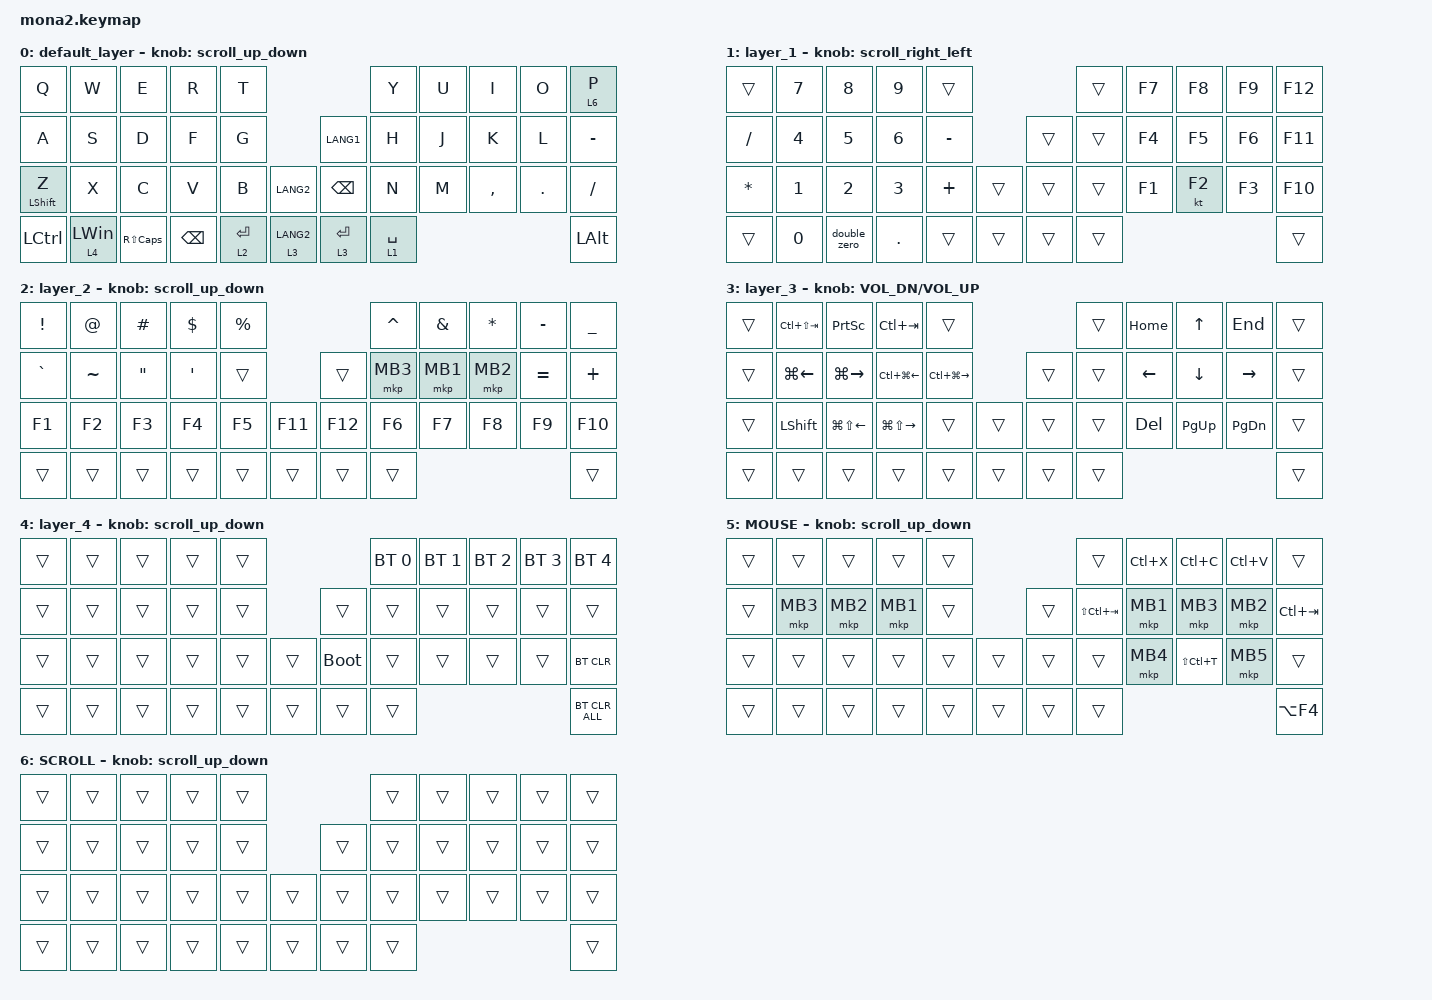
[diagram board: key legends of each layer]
#include <input/processors.dtsi>
#include <dt-bindings/zmk/input_transform.h>
#include <zephyr/dt-bindings/input/input-event-codes.h>
#include <behaviors.dtsi>
#include <dt-bindings/zmk/bt.h>
#include <dt-bindings/zmk/keys.h>
#include <dt-bindings/zmk/pointing.h>

#define ZMK_POINTING_DEFAULT_SCRL_VAL 100
#define MOUSE 5
#define SCROLL 6

&mt {
    flavor = "balanced";
    quick-tap-ms = <0>;
};

&lt {
    quick-tap-ms = <300>;
    flavor = "balanced";
};

/ {
    combos {
        compatible = "zmk,combos";

        layer4_ESC {
            bindings = <&lt 4 ESC>;
            key-positions = <39 38>;
        };

        tab {
            bindings = <&kp TAB>;
            key-positions = <11 12>;
        };
    };

    macros {
        double_zero: to_layer_0 {
            compatible = "zmk,behavior-macro";
            #binding-cells = <0>;
            bindings = <&kp NUMBER_0 &kp NUMBER_0>;
            label = "TO_LAYER_0";
        };
    };

    behaviors {
        lt_to_layer_0: lt_to_layer_0 {
            compatible = "zmk,behavior-hold-tap";
            label = "LAYER_TAP_TO_0";
            bindings = <&mo>, <&double_zero>;

            #binding-cells = <2>;
            tapping-term-ms = <200>;
        };

        scroll_up_down: mouse_wheel_up_down {
            compatible = "zmk,behavior-sensor-rotate";
            #sensor-binding-cells = <0>;
            bindings = <&msc SCRL_DOWN>, <&msc SCRL_UP>;

            tap-ms = <20>;
        };

        scroll_right_left: mouse_wheel_right_left {
            compatible = "zmk,behavior-sensor-rotate";
            #sensor-binding-cells = <0>;
            bindings = <&msc SCRL_LEFT>, <&msc SCRL_RIGHT>;

            tap-ms = <20>;
        };
    };

    keymap {
        compatible = "zmk,keymap";

        default_layer {
            bindings = <
&kp Q             &kp W           &kp E             &kp R          &kp T                                                 &kp Y        &kp U  &kp I      &kp O    &lt 6 P
&kp A             &kp S           &kp D             &kp F          &kp G                                  &kp LANG1      &kp H        &kp J  &kp K      &kp L    &kp MINUS
&mt LEFT_SHIFT Z  &kp X           &kp C             &kp V          &kp B        &kp LANG2                 &kp BACKSPACE  &kp N        &kp M  &kp COMMA  &kp DOT  &kp SLASH
&kp LCTRL         &lt 4 LEFT_WIN  &kp RS(CAPSLOCK)  &kp BACKSPACE  &lt 2 ENTER  &lt_to_layer_0 3 LANG2    &lt 3 ENTER    &lt 1 SPACE                             &kp LEFT_ALT
            >;

            sensor-bindings = <&scroll_up_down>;
        };

        layer_1 {
            bindings = <
&trans        &kp NUMBER_7  &kp NUMBER_8  &kp NUMBER_9  &trans                       &trans  &kp F7  &kp F8  &kp F9  &kp F12
&kp SLASH     &kp NUMBER_4  &kp NUMBER_5  &kp NUMBER_6  &kp MINUS            &trans  &trans  &kp F4  &kp F5  &kp F6  &kp F11
&kp ASTERISK  &kp NUMBER_1  &kp NUMBER_2  &kp NUMBER_3  &kp PLUS   &trans    &trans  &trans  &kp F1  &kt F2  &kp F3  &kp F10
&trans        &kp NUMBER_0  &double_zero  &kp DOT       &trans     &trans    &trans  &trans                          &trans
            >;

            sensor-bindings = <&scroll_right_left>;
        };

        layer_2 {
            bindings = <
&kp EXCLAMATION  &kp AT_SIGN  &kp POUND          &kp DOLLAR  &kp PERCENT                      &kp CARET  &kp AMPERSAND  &kp ASTERISK  &kp MINUS  &kp UNDERSCORE
&kp GRAVE        &kp TILDE    &kp DOUBLE_QUOTES  &kp SQT     &trans                  &trans   &mkp MB3   &mkp MB1       &mkp MB2      &kp EQUAL  &kp PLUS
&kp F1           &kp F2       &kp F3             &kp F4      &kp F5       &kp F11    &kp F12  &kp F6     &kp F7         &kp F8        &kp F9     &kp F10
&trans           &trans       &trans             &trans      &trans       &trans     &trans   &trans                                             &trans
            >;

            sensor-bindings = <&scroll_up_down>;
        };

        layer_3 {
            bindings = <
&trans  &kp LC(LS(TAB))     &kp PRINTSCREEN         &kp LC(TAB)              &trans                                     &trans  &kp HOME        &kp UP_ARROW    &kp END          &trans
&trans  &kp LG(LEFT_ARROW)  &kp LG(RIGHT_ARROW)     &kp LC(LG(LEFT_ARROW))   &kp LC(LG(RIGHT_ARROW))            &trans  &trans  &kp LEFT_ARROW  &kp DOWN_ARROW  &kp RIGHT_ARROW  &trans
&trans  &kp LEFT_SHIFT      &kp LG(LS(LEFT_ARROW))  &kp LG(LS(RIGHT_ARROW))  &trans                   &trans    &trans  &trans  &kp DELETE      &kp PAGE_UP     &kp PAGE_DOWN    &trans
&trans  &trans              &trans                  &trans                   &trans                   &trans    &trans  &trans                                                   &trans
            >;

            sensor-bindings = <&inc_dec_kp C_VOL_DN C_VOL_UP>;
        };

        layer_4 {
            bindings = <
&trans  &trans  &trans  &trans  &trans                         &bt BT_SEL 0  &bt BT_SEL 1  &bt BT_SEL 2  &bt BT_SEL 3  &bt BT_SEL 4
&trans  &trans  &trans  &trans  &trans            &trans       &trans        &trans        &trans        &trans        &trans
&trans  &trans  &trans  &trans  &trans  &trans    &bootloader  &trans        &trans        &trans        &trans        &bt BT_CLR
&trans  &trans  &trans  &trans  &trans  &trans    &trans       &trans                                                  &bt BT_CLR_ALL
            >;

            sensor-bindings = <&scroll_up_down>;
        };

        MOUSE {
            bindings = <
&trans  &trans    &trans    &trans    &trans                    &trans           &kp LC(X)  &kp LC(C)      &kp LC(V)  &trans
&trans  &mkp MB3  &mkp MB2  &mkp MB1  &trans            &trans  &kp LS(LC(TAB))  &mkp MB1   &mkp MB3       &mkp MB2   &kp LC(TAB)
&trans  &trans    &trans    &trans    &trans  &trans    &trans  &trans           &mkp MB4   &kp LS(LC(T))  &mkp MB5   &trans
&trans  &trans    &trans    &trans    &trans  &trans    &trans  &trans                                                &kp LA(F4)
            >;

            sensor-bindings = <&scroll_up_down>;
        };

        SCROLL {
            bindings = <
&trans  &trans  &trans  &trans  &trans                    &trans  &trans  &trans  &trans  &trans
&trans  &trans  &trans  &trans  &trans            &trans  &trans  &trans  &trans  &trans  &trans
&trans  &trans  &trans  &trans  &trans  &trans    &trans  &trans  &trans  &trans  &trans  &trans
&trans  &trans  &trans  &trans  &trans  &trans    &trans  &trans                          &trans
            >;

            sensor-bindings = <&scroll_up_down>;
        };
    };
};
